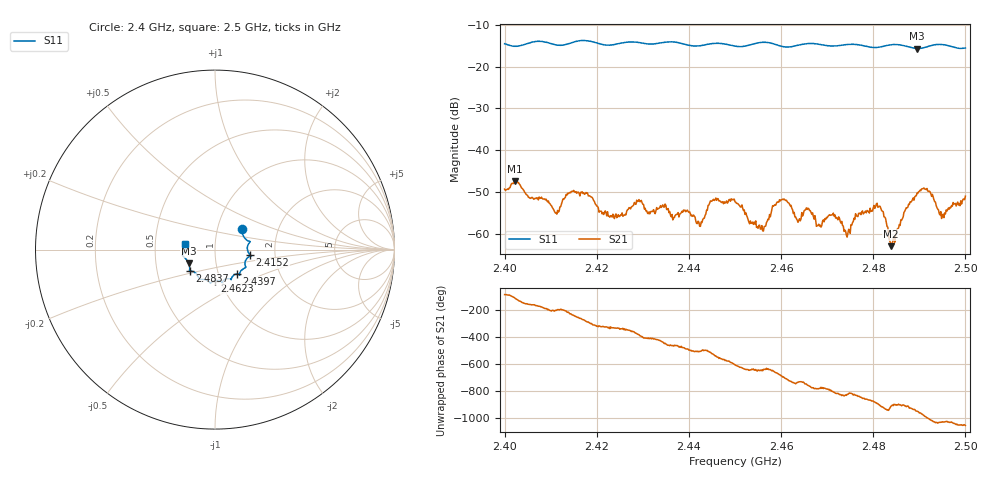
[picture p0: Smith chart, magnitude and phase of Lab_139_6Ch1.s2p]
# Hz S RI R 50
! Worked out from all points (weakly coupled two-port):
!   601 points, 2.4 GHz to 2.5 GHz, reference 50 ohm
!   highest |S21| = -47.37 dB at 2.4022 GHz (marker M1); lowest = -62.9 dB at 2.4838 GHz (marker M2)
!   lowest |S11| = -15.7 dB at 2.4895 GHz (marker M3), VSWR 1.40, Z = 36.8 - j5.72 ohm
!   |S11| at or under -10 dB: start of sweep to end of sweep
!   S12 and S22 are empty: the file has one direction only
!   S11 on the Smith chart (normalised r, x): 2.4 GHz: 1.31, +0.31; 2.4152 GHz: 1.48, -0.09; 2.4397 GHz: 1.22, -0.34; 2.4623 GHz: 0.94, -0.34; 2.4837 GHz: 0.74, -0.18; 2.5 GHz: 0.72, +0.05
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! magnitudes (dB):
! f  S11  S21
! 2.4 GHz  -14.5  -49.3
! 2.4022 GHz  -15.1  -47.4
! 2.4113 GHz  -14.8  -55.3
! 2.4152 GHz  -14.1  -49.9
! 2.4167 GHz  -13.7  -50.1
! 2.4233 GHz  -14.8  -56.0
! 2.4333 GHz  -14.4  -54.0
! 2.4397 GHz  -14.8  -54.3
! 2.4423 GHz  -15.0  -58.2
! 2.45 GHz  -15.1  -52.3
! 2.456 GHz  -14.2  -59.3
! 2.4595 GHz  -14.9  -52.4
! 2.4623 GHz  -15.2  -53.9
! 2.4667 GHz  -14.4  -55.3
! 2.4745 GHz  -14.7  -59.8
! 2.481 GHz  -15.4  -53.6
! 2.4833 GHz  -14.8  -60.5
! 2.4837 GHz  -14.8  -61.9
! 2.4838 GHz  -14.8  -62.9
! 2.4895 GHz  -15.7  -50.2
! 2.4948 GHz  -14.7  -56.3
! 2.5 GHz  -15.5  -51.0
